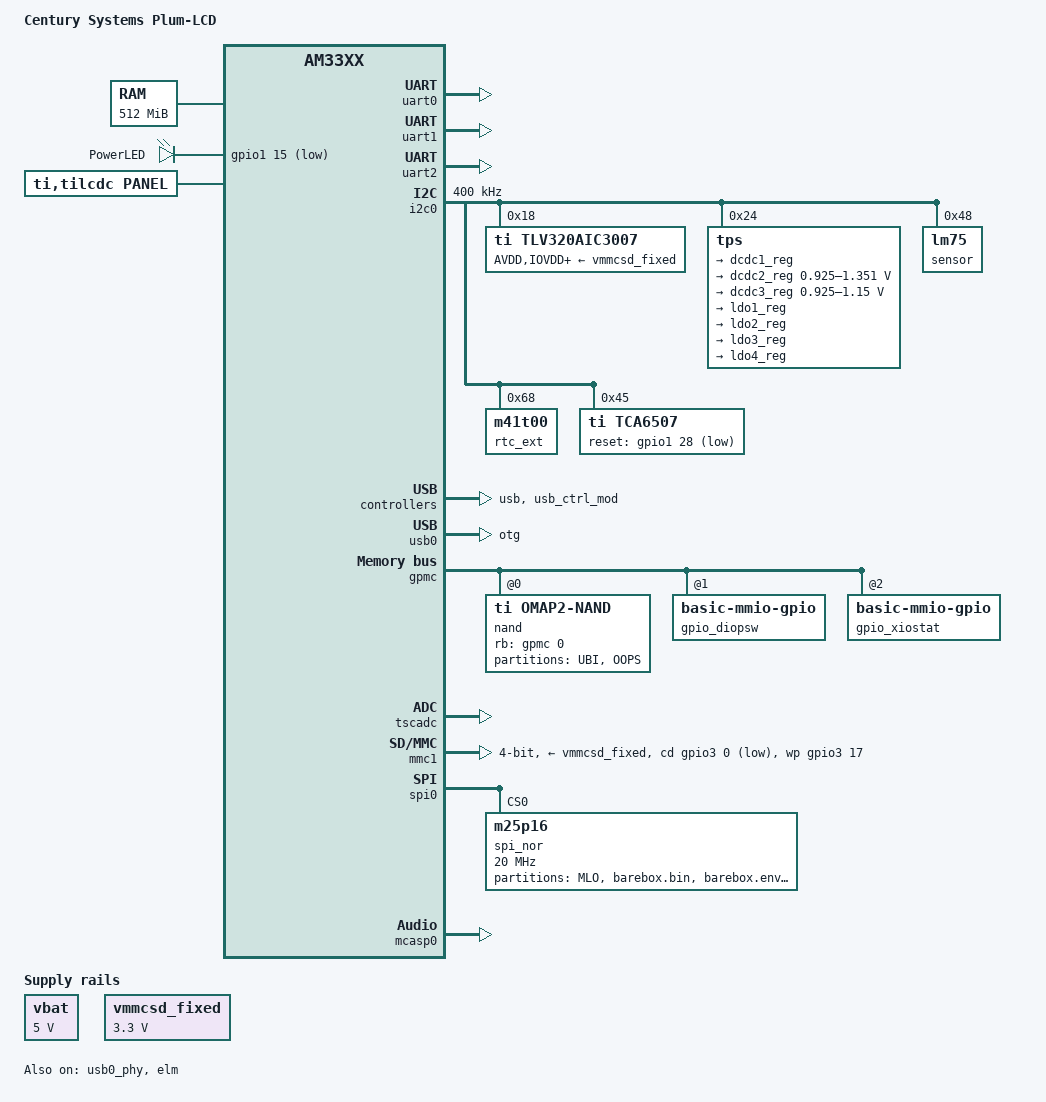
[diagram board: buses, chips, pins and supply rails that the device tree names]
/*
 * Copyright (C) 2016 Texas Instruments Incorporated - http://www.ti.com/
 *
 * This program is free software; you can redistribute it and/or modify
 * it under the terms of the GNU General Public License version 2 as
 * published by the Free Software Foundation.
 */

/*
 * Century Systems NSTG-LCD board
 *
 */

/dts-v1/;

#include "am33xx.dtsi"

/ {
	model = "Century Systems Plum-LCD";
	compatible = "ti,plum-lcd", "ti,am33xx";

	cpus {
		cpu@0 {
			cpu0-supply = <&dcdc2_reg>;
		};
	};

	memory@80000000 {
		device_type = "memory";
		reg = <0x80000000 0x20000000>; /* 512 MiB */
	};

	chosen {
	};

	ocp {
		rtc@44e3e000 {
			compatible = "ti,am3352-rtc";
			system-power-controller;
		};

		gpio0: gpio@44e07000 {
			wakeup-source;
		};
	};

	vbat: fixedregulator0 {
		compatible = "regulator-fixed";
		regulator-name = "vbat";
		regulator-min-microvolt = <5000000>;
		regulator-max-microvolt = <5000000>;
		regulator-boot-on;
	};

	vmmcsd_fixed: fixedregulator_mmc@0 {
		compatible = "regulator-fixed";
		regulator-name = "vmmcsd_fixed";
		regulator-min-microvolt = <3300000>;
		regulator-max-microvolt = <3300000>;
	};

	leds_onboard: leds_onboard {
		pinctrl-names = "default";
		pinctrl-0 = <&power_led_pins>;

		compatible = "gpio-leds";
		status = "okay";

		led@1 {
			label = "PowerLED";
			gpios = <&gpio1 15 GPIO_ACTIVE_LOW>;
			default-state = "on";
		};
	};

	panel {
		compatible = "ti,tilcdc,panel";
		status = "okay";
		pinctrl-names = "default";
		pinctrl-0 = <&lcd_pins>;
		panel-info {
			ac-bias           = <255>;
			ac-bias-intrpt    = <0>;
			dma-burst-sz      = <16>;
			bpp               = <32>;
			fdd               = <0x80>;
			sync-edge         = <0>;
			sync-ctrl         = <1>;
			raster-order      = <0>;
			fifo-th           = <0>;
		};

		display-timings {
			800x480p62 {
				clock-frequency = <30000000>;
				hactive = <480>;
				vactive = <480>;
				hfront-porch = <39>;
				hback-porch = <39>;
				hsync-len = <47>;
				vback-porch = <29>;
				vfront-porch = <13>;
				vsync-len = <2>;
				hsync-active = <1>;
				vsync-active = <1>;
			};
		};
	};

	sound: sound_iface {
		compatible = "ti,da830-evm-audio";
	};

	aliases {
	};
};

&am33xx_pinmux {
	pinctrl-names = "default";

	i2c0_pins: i2c0_pins {
		pinctrl-single,pins = <
			AM33XX_IOPAD(0x988, (PIN_INPUT_PULLUP | MUX_MODE0))	/* i2c0_sda.i2c0_sda */
			AM33XX_IOPAD(0x98c, (PIN_INPUT_PULLUP | MUX_MODE0))	/* i2c0_scl.i2c0_scl */
			/* TCA6507 Reset# */
			AM33XX_IOPAD(0x878, (PIN_OUTPUT | MUX_MODE7))		/* gpmc_ben1.gpio1_28 */
		>;
	};

	spi0_pins: spi0_pins {
		pinctrl-single,pins = <
			AM33XX_IOPAD(0x950, (PIN_INPUT | MUX_MODE0)) /* spi0_sclk.spi0_sclk */
			AM33XX_IOPAD(0x954, (PIN_INPUT | MUX_MODE0)) /* spi0_d0.spi0_d0 */
			AM33XX_IOPAD(0x958, (PIN_INPUT | MUX_MODE0)) /* spi0_d1.spi0_d1 */
			AM33XX_IOPAD(0x95c, (PIN_INPUT | MUX_MODE0)) /* spi0_cs0.spi0_cs0 */
		>;
	};

	spi1_pins: spi1_pins {
		pinctrl-single,pins = <
			AM33XX_IOPAD(0x990, (PIN_INPUT | MUX_MODE3)) /* mcasp0_aclkx.spi1_sclk */
			AM33XX_IOPAD(0x994, (PIN_INPUT | MUX_MODE3)) /* mcasp0_fsx.spi1_d0 */
			AM33XX_IOPAD(0x998, (PIN_INPUT | MUX_MODE3)) /* mcasp0_axr0.spi1_d1 */
			AM33XX_IOPAD(0x944, (PIN_INPUT | MUX_MODE2)) /* rmii_ref_clk.spi1_cs0 */
		>;
	};

	uart0_pins: uart0_pins {
		pinctrl-single,pins = <
			AM33XX_IOPAD(0x970, (PIN_INPUT | MUX_MODE0))  /* uart0_rxd.uart0_rxd */
			AM33XX_IOPAD(0x974, (PIN_OUTPUT | MUX_MODE0)) /* uart0_txd.uart0_txd */
			AM33XX_IOPAD(0x96c, (PIN_OUTPUT | MUX_MODE0)) /* uart0_rtsn.uart0_rtsn */
			AM33XX_IOPAD(0x968, (PIN_INPUT | MUX_MODE0))  /* uart0_ctsn.uart0_ctsn */
		>;
	};

	uart1_pins: uart1_pins {
		pinctrl-single,pins = <
			AM33XX_IOPAD(0x980, (PIN_INPUT | MUX_MODE0))  /* uart1_rxd.uart1_rxd */
			AM33XX_IOPAD(0x984, (PIN_OUTPUT | MUX_MODE0)) /* uart1_txd.uart1_txd */
		>;
	};

	uart2_pins: uart2_pins {
		pinctrl-single,pins = <
			AM33XX_IOPAD(0x910, (PIN_INPUT | MUX_MODE6))  /* mii1_crs.uart2_rxd */
			AM33XX_IOPAD(0x90c, (PIN_OUTPUT | MUX_MODE6)) /* mii1_rx_er.uart2_txd */
		>;
	};

	nandflash_pins_s0: nandflash_pins_s0 {
		pinctrl-single,pins = <
			AM33XX_IOPAD(0x800, (PIN_INPUT | MUX_MODE0))	/* gpmc_ad0.gpmc_ad0 */
			AM33XX_IOPAD(0x804, (PIN_INPUT | MUX_MODE0))	/* gpmc_ad1.gpmc_ad1 */
			AM33XX_IOPAD(0x808, (PIN_INPUT | MUX_MODE0))	/* gpmc_ad2.gpmc_ad2 */
			AM33XX_IOPAD(0x80c, (PIN_INPUT | MUX_MODE0))	/* gpmc_ad3.gpmc_ad3 */
			AM33XX_IOPAD(0x810, (PIN_INPUT | MUX_MODE0))	/* gpmc_ad4.gpmc_ad4 */
			AM33XX_IOPAD(0x814, (PIN_INPUT | MUX_MODE0))	/* gpmc_ad5.gpmc_ad5 */
			AM33XX_IOPAD(0x818, (PIN_INPUT | MUX_MODE0))	/* gpmc_ad6.gpmc_ad6 */
			AM33XX_IOPAD(0x81c, (PIN_INPUT | MUX_MODE0))	/* gpmc_ad7.gpmc_ad7 */
			AM33XX_IOPAD(0x870, (PIN_INPUT | MUX_MODE0))	/* gpmc_wait0.gpmc_wait0 */
			AM33XX_IOPAD(0x874, (PIN_OUTPUT | MUX_MODE7))	/* gpmc_wpn.gpio0_30 */
			AM33XX_IOPAD(0x87c, (PIN_OUTPUT | MUX_MODE0))	/* gpmc_csn0.gpmc_csn0  */
			AM33XX_IOPAD(0x890, (PIN_OUTPUT | MUX_MODE0))	/* gpmc_advn_ale.gpmc_advn_ale */
			AM33XX_IOPAD(0x894, (PIN_OUTPUT | MUX_MODE0))	/* gpmc_oen_ren.gpmc_oen_ren */
			AM33XX_IOPAD(0x898, (PIN_OUTPUT | MUX_MODE0))	/* gpmc_wen.gpmc_wen */
			AM33XX_IOPAD(0x89c, (PIN_OUTPUT | MUX_MODE0))	/* gpmc_be0n_cle.gpmc_be0n_cle */
		>;
	};

	lcd_pins: lcd_pins {
		pinctrl-single,pins = <
			AM33XX_IOPAD(0x820, PIN_OUTPUT | MUX_MODE1) /* gpmc_ad8.lcd_data23 */
			AM33XX_IOPAD(0x824, PIN_OUTPUT | MUX_MODE1) /* gpmc_ad9.lcd_data22 */
			AM33XX_IOPAD(0x828, PIN_OUTPUT | MUX_MODE1) /* gpmc_ad10.lcd_data21 */
			AM33XX_IOPAD(0x82c, PIN_OUTPUT | MUX_MODE1) /* gpmc_ad11.lcd_data20 */
			AM33XX_IOPAD(0x830, PIN_OUTPUT | MUX_MODE1) /* gpmc_ad12.lcd_data19 */
			AM33XX_IOPAD(0x834, PIN_OUTPUT | MUX_MODE1) /* gpmc_ad13.lcd_data18 */
			AM33XX_IOPAD(0x838, PIN_OUTPUT | MUX_MODE1) /* gpmc_ad14.lcd_data17 */
			AM33XX_IOPAD(0x83c, PIN_OUTPUT | MUX_MODE1) /* gpmc_ad15.lcd_data16 */
			AM33XX_IOPAD(0x8a0, PIN_OUTPUT | MUX_MODE0) /* lcd_data0.lcd_data0 */
			AM33XX_IOPAD(0x8a4, PIN_OUTPUT | MUX_MODE0) /* lcd_data1.lcd_data1 */
			AM33XX_IOPAD(0x8a8, PIN_OUTPUT | MUX_MODE0) /* lcd_data2.lcd_data2 */
			AM33XX_IOPAD(0x8ac, PIN_OUTPUT | MUX_MODE0) /* lcd_data3.lcd_data3 */
			AM33XX_IOPAD(0x8b0, PIN_OUTPUT | MUX_MODE0) /* lcd_data4.lcd_data4 */
			AM33XX_IOPAD(0x8b4, PIN_OUTPUT | MUX_MODE0) /* lcd_data5.lcd_data5 */
			AM33XX_IOPAD(0x8b8, PIN_OUTPUT | MUX_MODE0) /* lcd_data6.lcd_data6 */
			AM33XX_IOPAD(0x8bc, PIN_OUTPUT | MUX_MODE0) /* lcd_data7.lcd_data7 */
			AM33XX_IOPAD(0x8c0, PIN_OUTPUT | MUX_MODE0) /* lcd_data8.lcd_data8 */
			AM33XX_IOPAD(0x8c4, PIN_OUTPUT | MUX_MODE0) /* lcd_data9.lcd_data9 */
			AM33XX_IOPAD(0x8c8, PIN_OUTPUT | MUX_MODE0) /* lcd_data10.lcd_data10 */
			AM33XX_IOPAD(0x8cc, PIN_OUTPUT | MUX_MODE0) /* lcd_data11.lcd_data11 */
			AM33XX_IOPAD(0x8d0, PIN_OUTPUT | MUX_MODE0) /* lcd_data12.lcd_data12 */
			AM33XX_IOPAD(0x8d4, PIN_OUTPUT | MUX_MODE0) /* lcd_data13.lcd_data13 */
			AM33XX_IOPAD(0x8d8, PIN_OUTPUT | MUX_MODE0) /* lcd_data14.lcd_data14 */
			AM33XX_IOPAD(0x8dc, PIN_OUTPUT | MUX_MODE0) /* lcd_data15.lcd_data15 */
			AM33XX_IOPAD(0x8e0, PIN_OUTPUT | MUX_MODE0) /* lcd_vsync.lcd_vsync */
			AM33XX_IOPAD(0x8e4, PIN_OUTPUT | MUX_MODE0) /* lcd_hsync.lcd_hsync */
			AM33XX_IOPAD(0x8e8, PIN_OUTPUT | MUX_MODE0) /* lcd_pclk.lcd_pclk */
			AM33XX_IOPAD(0x8ec, PIN_OUTPUT | MUX_MODE0) /* lcd_ac_bias_en.lcd_ac_bias_en */
		>;
	};

	mcasp0_pins: mcasp0_pins {
		pinctrl-single,pins = <
			AM33XX_IOPAD(0x920, PIN_OUTPUT_PULLDOWN | MUX_MODE6)
			AM33XX_IOPAD(0x92c, PIN_INPUT_PULLDOWN  | MUX_MODE6)
			AM33XX_IOPAD(0x930, PIN_INPUT_PULLDOWN  | MUX_MODE6)
			AM33XX_IOPAD(0x934, PIN_INPUT_PULLDOWN  | MUX_MODE6)
			AM33XX_IOPAD(0x938, PIN_INPUT_PULLDOWN  | MUX_MODE6)
		>;
	};

	mmc1_pins: pinmux_mmc1_pins {
		pinctrl-single,pins = <
			AM33XX_IOPAD(0x908, (PIN_INPUT | MUX_MODE7)) /* mii1_col.gpio3_0 */
			AM33XX_IOPAD(0x99c, (PIN_INPUT | MUX_MODE7)) /* mcasp0_ahclkr.gpio3_17 */
		>;
	};

	power_led_pins: pinmux_power_led_pins {
		pinctrl-single,pins = <
			AM33XX_IOPAD(0x83c, (PIN_OUTPUT | MUX_MODE7)) /* gpmc_ad15.gpio1_15 */
		>;
	};
};

&uart0 {
	pinctrl-names = "default";
	pinctrl-0 = <&uart0_pins>;

	status = "okay";
};

&uart1 {
	pinctrl-names = "default";
	pinctrl-0 = <&uart1_pins>;

	status = "okay";
};

&uart2 {
	pinctrl-names = "default";
	pinctrl-0 = <&uart2_pins>;

	status = "okay";
};

&i2c0 {
	pinctrl-names = "default";
	pinctrl-0 = <&i2c0_pins>;

	status = "okay";
	clock-frequency = <400000>;

	tlv320aic3007: tlv320aic3007@18 {
		compatible = "ti,tlv320aic3007";
		reg = <0x18>;
		AVDD-supply = <&vmmcsd_fixed>;
		IOVDD-supply = <&vmmcsd_fixed>;
		DRVDD-supply = <&vmmcsd_fixed>;
		DVDD-supply = <&vmmcsd_fixed>;
		status = "okay";
	};

	tps: tps@24 {
		reg = <0x24>;
	};

	sensor: lm75@48 {
		compatible = "lm75";
		reg = <0x48>;
	};

	rtc_ext: m41t00@68 {
		compatible = "m41t00";
		reg = <0x68>;
	};

	tca6507@45 {
		compatible = "ti,tca6507";
		#address-cells = <1>;
		#size-cells = <0>;
		reg = <0x45>;

		reset-gpio = <&gpio1 28 GPIO_ACTIVE_LOW>;

		led0: power-status-red@0 {
			label = "power-stat:r";
			reg = <0x0>;
		};

		led1: system-status1-red@1 {
			label = "system-status1:r";
			reg = <0x1>;
			linux,default-trigger = "heartbeat";
		};

		led2: system-status2-red@2 {
			label = "system-status2:r";
			reg = <0x2>;
		};

		led3: system-status3-red@3 {
			label = "system-status3:r";
			reg = <0x3>;
		};

		led4: system-status1-green@4 {
			label = "system-status1:g";
			reg = <0x4>;
			linux,default-trigger = "timer-suspend";
		};

		led5: system-status2-green@5 {
			label = "system-status2:g";
			reg = <0x5>;
		};

		led6: system-status3-green@6 {
			label = "system-status3:g";
			reg = <0x6>;
		};
	};
};

&usb {
	status = "okay";
};

&usb_ctrl_mod {
	status = "okay";
};

&usb0_phy {
	status = "okay";
};

&usb0 {
	status = "okay";
	dr_mode = "otg";
};

&elm {
	status = "okay";
};

&gpmc {
	pinctrl-names = "default";
	pinctrl-0 = <&nandflash_pins_s0>;
	ranges = <0 0 0x08000000 0x01000000	/* CS0 : NAND */
		  1 0 0x10000000 0x01000000	/* CS1 : DIPSW */
		  2 0 0x11000000 0x01000000>;	/* CS2 : eXternal I/O */
	status = "okay";

	nand@0,0 {
		compatible = "ti,omap2-nand";
		reg = <0 0 4>; /* CS0, offset 0, IO size 4 */
		interrupt-parent = <&gpmc>;
		nand-bus-width = <8>;
		ti,nand-ecc-opt = "bch8";
		ti,nand-xfer-type = "polled";
		rb-gpios = <&gpmc 0 GPIO_ACTIVE_HIGH>;  /* gpmc_wait0 */

		gpmc,device-nand = "true";
		gpmc,device-width = <1>;
		gpmc,sync-clk-ps = <0>;
		gpmc,cs-on-ns = <0>;
		gpmc,cs-rd-off-ns = <60>;
		gpmc,cs-wr-off-ns = <50>;
		gpmc,adv-on-ns = <0>;
		gpmc,adv-rd-off-ns = <60>;
		gpmc,adv-wr-off-ns = <50>;
		gpmc,we-on-ns = <0>;
		gpmc,we-off-ns = <30>;
		gpmc,oe-on-ns = <10>;
		gpmc,oe-off-ns = <60>;
		gpmc,access-ns = <50>;
		gpmc,rd-cycle-ns = <60>;
		gpmc,wr-cycle-ns = <50>;
		gpmc,wait-on-read = "false";
		gpmc,wait-on-write = "false";
		gpmc,bus-turnaround-ns = <0>;
		gpmc,cycle2cycle-delay-ns = <10>;
		gpmc,clk-activation-ns = <0>;
		gpmc,wait-monitoring-ns = <0>;
		gpmc,wr-access-ns = <30>;
		gpmc,wr-data-mux-bus-ns = <0>;

		#address-cells = <1>;
		#size-cells = <1>;
		ti,elm-id = <&elm>;

		/* MTD partition table */
		partition@0 {
			label = "UBI";
			reg = <0x00000000 0x0ff00000>;
		};

		partition@1 {
			label = "OOPS";
			reg = <0x0ff00000 0x00100000>;
		};
	};

	/* Onboard DIPSW */
	gpio_diopsw: gpio@1,0x00 {
		reg = <1 0x0000000 0x00000001>;
		#gpio-cells = <2>;
		compatible = "basic-mmio-gpio", "linux,basic-mmio-gpio";
		bank-width = <2>;
		gpio-controller;
		reg-names = "dat";

		gpmc,mux-add-data = <2>;
		gpmc,device-width = <2>;
		gpmc,wait-pin = <1>;
		gpmc,burst-length = <4>;

		gpmc,cs-on-ns = <0>; /* 0 ns - 0 ns; 0 ticks */
		gpmc,cs-rd-off-ns = <160>; /* 151 ns - 160 ns; 16 ticks */
		gpmc,cs-wr-off-ns = <200>; /* 191 ns - 200 ns; 20 ticks */
		gpmc,adv-on-ns = <0>; /* 0 ns - 0 ns; 0 ticks */
		gpmc,adv-rd-off-ns = <20>; /* 11 ns - 20 ns; 2 ticks */
		gpmc,adv-wr-off-ns = <20>; /* 11 ns - 20 ns; 2 ticks */
		gpmc,adv-aad-mux-on-ns = <0>; /* 0 ns - 0 ns; 0 ticks */
		gpmc,adv-aad-mux-rd-off-ns = <0>; /* 0 ns - 0 ns; 0 ticks */
		gpmc,adv-aad-mux-wr-off-ns = <0>; /* 0 ns - 0 ns; 0 ticks */
		gpmc,oe-on-ns = <50>; /* 41 ns - 50 ns; 5 ticks */
		gpmc,oe-off-ns = <140>; /* 131 ns - 140 ns; 14 ticks */
		gpmc,oe-aad-mux-on-ns = <0>; /* 0 ns - 0 ns; 0 ticks */
		gpmc,oe-aad-mux-off-ns = <0>; /* 0 ns - 0 ns; 0 ticks */
		gpmc,we-on-ns = <50>; /* 41 ns - 50 ns; 5 ticks */
		gpmc,we-off-ns = <180>; /* 171 ns - 180 ns; 18 ticks */
		gpmc,rd-cycle-ns = <190>; /* 181 ns - 190 ns; 19 ticks */
		gpmc,wr-cycle-ns = <230>; /* 221 ns - 230 ns; 23 ticks */
		gpmc,access-ns = <130>; /* 121 ns - 130 ns; 13 ticks */
		gpmc,page-burst-access-ns = <0>; /* 0 ns - 0 ns; 0 ticks */
		gpmc,bus-turnaround-ns = <0>; /* 0 ns - 0 ns; 0 ticks */
		gpmc,cycle2cycle-delay-ns = <0>; /* 0 ns - 0 ns; 0 ticks */
		gpmc,wait-monitoring-ns = <0>; /* 0 ns - 0 ns; 0 ticks */
		gpmc,clk-activation-ns = <0>; /* 0 ns - 0 ns; 0 ticks */
		gpmc,wr-data-mux-bus-ns = <50>; /* 41 ns - 50 ns; 5 ticks */
		gpmc,wr-access-ns = <180>; /* 171 ns - 180 ns; 18 ticks */

		status = "okay";
	};

	/* XIO Board status */
	gpio_xiostat: gpio@2,0x02 {
		reg = <2 0x0000002 0x00000001>;
		#gpio-cells = <2>;
		compatible = "basic-mmio-gpio", "linux,basic-mmio-gpio";
		bank-width = <2>;
		gpio-controller;
		reg-names = "dat";

		gpmc,mux-add-data = <2>;
		gpmc,device-width = <2>;
		gpmc,wait-pin = <1>;
		gpmc,burst-length = <4>;

		gpmc,cs-on-ns = <0>; /* 0 ns - 0 ns; 0 ticks */
		gpmc,cs-rd-off-ns = <160>; /* 151 ns - 160 ns; 16 ticks */
		gpmc,cs-wr-off-ns = <200>; /* 191 ns - 200 ns; 20 ticks */
		gpmc,adv-on-ns = <0>; /* 0 ns - 0 ns; 0 ticks */
		gpmc,adv-rd-off-ns = <20>; /* 11 ns - 20 ns; 2 ticks */
		gpmc,adv-wr-off-ns = <20>; /* 11 ns - 20 ns; 2 ticks */
		gpmc,adv-aad-mux-on-ns = <0>; /* 0 ns - 0 ns; 0 ticks */
		gpmc,adv-aad-mux-rd-off-ns = <0>; /* 0 ns - 0 ns; 0 ticks */
		gpmc,adv-aad-mux-wr-off-ns = <0>; /* 0 ns - 0 ns; 0 ticks */
		gpmc,oe-on-ns = <50>; /* 41 ns - 50 ns; 5 ticks */
		gpmc,oe-off-ns = <140>; /* 131 ns - 140 ns; 14 ticks */
		gpmc,oe-aad-mux-on-ns = <0>; /* 0 ns - 0 ns; 0 ticks */
		gpmc,oe-aad-mux-off-ns = <0>; /* 0 ns - 0 ns; 0 ticks */
		gpmc,we-on-ns = <50>; /* 41 ns - 50 ns; 5 ticks */
		gpmc,we-off-ns = <180>; /* 171 ns - 180 ns; 18 ticks */
		gpmc,rd-cycle-ns = <190>; /* 181 ns - 190 ns; 19 ticks */
		gpmc,wr-cycle-ns = <230>; /* 221 ns - 230 ns; 23 ticks */
		gpmc,access-ns = <130>; /* 121 ns - 130 ns; 13 ticks */
		gpmc,page-burst-access-ns = <0>; /* 0 ns - 0 ns; 0 ticks */
		gpmc,bus-turnaround-ns = <0>; /* 0 ns - 0 ns; 0 ticks */
		gpmc,cycle2cycle-delay-ns = <0>; /* 0 ns - 0 ns; 0 ticks */
		gpmc,wait-monitoring-ns = <0>; /* 0 ns - 0 ns; 0 ticks */
		gpmc,clk-activation-ns = <0>; /* 0 ns - 0 ns; 0 ticks */
		gpmc,wr-data-mux-bus-ns = <50>; /* 41 ns - 50 ns; 5 ticks */
		gpmc,wr-access-ns = <180>; /* 171 ns - 180 ns; 18 ticks */

		status = "okay";
	};

	/* XIO Board Control */
	gpiox_0x00: gpio@2,0x00 {
		reg = <2 0x00000000 0x00000001>;
		#gpio-cells = <2>;
		compatible = "basic-mmio-gpio", "linux,basic-mmio-gpio";
		gpio-controller;
		reg-names = "dat";

		status = "disabled";

		#address-cells = <1>;
		#size-cells = <0>;
	};

	/* XIO current status */
	gpiox_0x08: gpio@2,0x08 {
		reg = <2 0x00000008 0x00000001>;
		#gpio-cells = <2>;
		compatible = "basic-mmio-gpio", "linux,basic-mmio-gpio";
		gpio-controller;
		reg-names = "dat";

		status = "disabled";
	};
};

/include/ "tps65217.dtsi"

&tps {
	interrupts = <7>; /* NMI */
	interrupt-parent = <&intc>;

	/*ti,pmic-shutdown-controller;*/

	regulators {
		dcdc1_reg: regulator@0 {
			regulator-name = "vdds_dpr";
			regulator-always-on;
		};

		dcdc2_reg: regulator@1 {
			/* VDD_MPU voltage limits 0.95V - 1.26V with +/-4% tolerance */
			regulator-name = "vdd_mpu";
			regulator-min-microvolt = <925000>;
			regulator-max-microvolt = <1351500>;
			regulator-boot-on;
			regulator-always-on;
		};

		dcdc3_reg: regulator@2 {
			/* VDD_CORE voltage limits 0.95V - 1.1V with +/-4% tolerance */
			regulator-name = "vdd_core";
			regulator-min-microvolt = <925000>;
			regulator-max-microvolt = <1150000>;
			regulator-boot-on;
			regulator-always-on;
		};

		ldo1_reg: regulator@3 {
			regulator-name = "vio,vrtc,vdds";
			regulator-always-on;
		};

		ldo2_reg: regulator@4 {
			regulator-name = "vdd_3v3aux";
			regulator-always-on;
		};

		ldo3_reg: regulator@5 {
			regulator-name = "vdd_1v8";
			regulator-always-on;
		};

		ldo4_reg: regulator@6 {
			regulator-name = "vdd_3v3a";
			regulator-always-on;
		};
	};
};

&tscadc {
	status = "okay";
	adc {
		ti,adc-channels = <0 1>;
	};
};

&mmc1 {
	status = "okay";
	vmmc-supply = <&vmmcsd_fixed>;
	bus-width = <4>;
	pinctrl-names = "default";
	pinctrl-0 = <&mmc1_pins>;
	cd-gpios = <&gpio3 0 GPIO_ACTIVE_LOW>;
	wp-gpios = <&gpio3 17 GPIO_ACTIVE_HIGH>;
};

&spi0 {
	status = "okay";
	pinctrl-names = "default";
	pinctrl-0 = <&spi0_pins>;

	/* spi0.0: Micron 16Mbit NOR Flash (M25P16) */
	spi_nor: flash@0 {
		#address-cells = <1>;
		#size-cells = <1>;
		compatible = "m25p16";
		spi-max-frequency = <20000000>;
		m25p,fast-read;
		reg = <0>;

		/* MTD partition table */
		partition@0 {
			label = "MLO";
			reg = <0x00000000 0x00020000>;
		};

		partition@1 {
			label = "barebox.bin";
			reg = <0x00020000 0x00080000>;
		};

		partition@2 {
			label = "barebox.env";
			reg = <0x000a0000 0x00020000>;
		};

		partition@3 {
			label = "dtb.0";
			reg = <0x000c0000 0x00020000>;
		};

		partition@4 {
			label = "dtb.1";
			reg = <0x000e0000 0x00020000>;
		};

		partition@5 {
			label = "hist_firmup";
			reg = <0x00100000 0x00020000>;
		};

		partition@6 {
			label = "hist_boot";
			reg = <0x00120000 0x000e0000>;
		};
	};
};

&spi1 {
	ti,spi-num-cs = <1>;

	pinctrl-names = "default";
	pinctrl-0 = <&spi1_pins>;
};

&mcasp0 {
	pinctrl-names = "default";
	pinctrl-0 = <&mcasp0_pins>;
	op-mode = <0>; /* DAVINCI_MCASP_IIS_MODE */
	tdm-slots = <2>;
	serial-dir = <
		2 1 0 0 /* # 0: INACTIVE, 1: TX, 2: RX */
	>;
	tx-num-evt = <16>;
	rt-num-evt = <16>;
	status = "okay";
};

&sound {
	ti,model = "AM335x-Plum-LCD";
	ti,audio-codec = <&tlv320aic3007>;
	ti,mcasp-controller = <&mcasp0>;
	ti,audio-routing =
		"Line Out",		"LLOUT",
		"Line Out",		"RLOUT",
		"LINE2L",		"Line In",
		"LINE2R",		"Line In";
	clocks = <&mcasp0_fck>;
	clock-names = "mclk";
	status = "okay";
};
